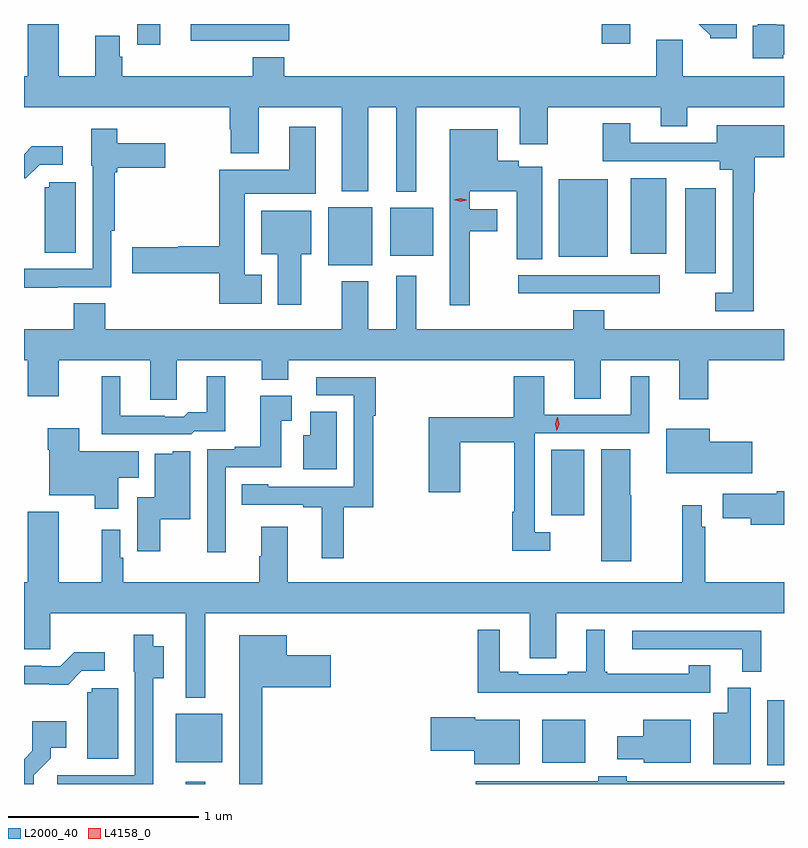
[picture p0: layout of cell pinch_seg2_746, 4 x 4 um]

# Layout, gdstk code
import gdstk
lib = gdstk.Library(unit=1e-6, precision=1e-09)
def R(c, l, rs):  # rectangles x0, y0, x1, y1
    for r in rs: c.add(gdstk.rectangle(r[:2], r[2:], *l))
def P(c, l, *ps):  # polygons
    for p in ps: c.add(gdstk.Polygon(p, *l))
L2000_40 = (2000, 40)
L4158_0 = (4158, 0)

pinch_seg2_746 = lib.new_cell('pinch_seg2_746')
R(pinch_seg2_746, L2000_40, [(645.359,649.402,645.463,649.414), (648.422,649.501,648.509,649.843), (647.237,649.514,647.464,649.741), (645.308,649.517,645.553,649.771), (647.285,650.816,647.458,651.16), (647.109,651.984,647.854,652.08), (647.99,652.089,648.151,652.537), (646.109,652.133,646.342,652.438), (647.324,652.178,647.581,652.585), (646.436,652.181,646.663,652.435), (647.702,652.193,647.89,652.591), (645.104,653.292,645.226,653.402), (647.549,653.298,647.701,653.402), (645.387,653.315,645.905,653.402)])
P(pinch_seg2_746, L2000_40, [(648.259,653.402),(648.06,653.402),(648.12,653.342),(648.12,653.327),(648.259,653.327)],
  [(648.504,653.24),(648.509,653.24),(648.509,653.398),(648.468,653.398),(648.468,653.402),(648.372,653.402),(648.372,653.394),(648.344,653.394),(648.344,653.222),(648.504,653.222)],
  [(646.573,652.964),(647.117,652.964),(647.117,652.77),(647.265,652.77),(647.265,652.964),(647.861,652.964),(647.861,652.865),(648.001,652.865),(648.001,652.964),(648.509,652.964),(648.509,653.128),(647.977,653.128),(647.977,653.318),(647.837,653.318),(647.837,653.128),(645.878,653.128),(645.878,653.227),(645.713,653.227),(645.713,653.128),(645.026,653.128),(645.026,653.229),(645.013,653.229),(645.013,653.34),(644.885,653.34),(644.885,653.128),(644.692,653.128),(644.692,653.402),(644.528,653.402),(644.528,653.128),(644.509,653.128),(644.509,652.964),(645.593,652.964),(645.593,652.848),(645.598,652.848),(645.598,652.721),(645.745,652.721),(645.745,652.964),(646.181,652.964),(646.181,652.523),(646.321,652.523),(646.321,652.964),(646.469,652.964),(646.469,652.52),(646.573,652.52)],
  [(648.349,652.516),(648.356,652.516),(648.356,652.7),(648.509,652.7),(648.509,652.87),(648.155,652.87),(648.155,652.776),(647.701,652.776),(647.701,652.879),(647.554,652.879),(647.554,652.68),(648.17,652.68),(648.17,652.634),(648.24,652.634),(648.24,651.987),(648.147,651.987),(648.147,651.891),(648.349,651.891)],
  [(645.76,652.081),(645.67,652.081),(645.67,652.508),(646.045,652.508),(646.045,652.861),(645.905,652.861),(645.905,652.636),(645.536,652.636),(645.536,652.232),(645.321,652.232),(645.321,652.227),(645.078,652.227),(645.078,652.09),(645.536,652.09),(645.536,651.929),(645.76,651.929)],
  [(644.687,652.017),(644.967,652.017),(644.967,652.315),(644.987,652.315),(644.987,652.622),(645,652.622),(645,652.645),(645.253,652.645),(645.253,652.774),(645,652.774),(645,652.852),(644.864,652.852),(644.864,652.656),(644.871,652.656),(644.871,652.113),(644.509,652.113),(644.509,652.015),(644.687,652.015)],
  [(646.855,652.312),(646.999,652.312),(646.999,652.428),(646.855,652.428),(646.855,652.523),(647.102,652.523),(647.102,652.165),(647.236,652.165),(647.236,652.651),(647.113,652.651),(647.113,652.681),(647.002,652.681),(647.002,652.849),(646.751,652.849),(646.751,651.921),(646.855,651.921)],
  [(644.592,652.662),(644.713,652.662),(644.713,652.759),(644.551,652.759),(644.509,652.717),(644.509,652.589),(644.519,652.589)],
  [(644.782,652.569),(644.643,652.569),(644.643,652.542),(644.618,652.542),(644.618,652.198),(644.782,652.198)],
  [(645.967,652.19),(646.021,652.19),(646.021,652.42),(645.758,652.42),(645.758,652.19),(645.845,652.19),(645.845,651.924),(645.967,651.924)],
  [(645.313,651.632),(645.761,651.632),(645.761,651.53),(645.901,651.53),(645.901,651.632),(647.405,651.632),(647.405,651.43),(647.545,651.43),(647.545,651.632),(647.957,651.632),(647.957,651.426),(648.11,651.426),(648.11,651.632),(648.509,651.632),(648.509,651.796),(647.564,651.796),(647.564,651.895),(647.399,651.895),(647.399,651.796),(646.573,651.796),(646.573,652.078),(646.469,652.078),(646.469,651.796),(646.321,651.796),(646.321,652.048),(646.181,652.048),(646.181,651.796),(644.936,651.796),(644.936,651.932),(644.771,651.932),(644.771,651.796),(644.509,651.796),(644.509,651.632),(644.528,651.632),(644.528,651.444),(644.692,651.444),(644.692,651.632),(645.173,651.632),(645.173,651.424),(645.313,651.424)],
  [(645.405,651.258),(645.569,651.258),(645.569,651.547),(645.47,651.547),(645.47,651.359),(645.374,651.359),(645.351,651.336),(645.251,651.336),(645.251,651.339),(645.016,651.339),(645.016,651.547),(644.919,651.547),(644.919,651.243),(645.39,651.243)],
  [(647.278,650.727),(647.196,650.727),(647.196,651.249),(647.8,651.249),(647.8,651.547),(647.702,651.547),(647.702,651.345),(647.248,651.345),(647.248,651.547),(647.087,651.547),(647.087,651.331),(646.64,651.331),(646.64,650.937),(646.806,650.937),(646.806,651.202),(647.088,651.202),(647.088,650.834),(647.08,650.834),(647.08,650.63),(647.278,650.63)],
  [(646.193,650.859),(646.346,650.859),(646.346,651.34),(646.361,651.34),(646.361,651.543),(646.047,651.543),(646.047,651.447),(646.245,651.447),(646.245,650.967),(645.795,650.967),(645.795,650.98),(645.655,650.98),(645.655,650.871),(645.98,650.871),(645.98,650.859),(646.076,650.859),(646.076,650.589),(646.193,650.589)],
  [(645.57,651.069),(645.862,651.069),(645.862,651.313),(645.919,651.313),(645.919,651.445),(645.752,651.445),(645.752,651.178),(645.617,651.178),(645.617,651.165),(645.474,651.165),(645.474,650.622),(645.57,650.622)],
  [(646.156,651.362),(646.016,651.362),(646.016,651.238),(645.98,651.238),(645.98,651.059),(646.156,651.059)],
  [(645.004,651.014),(645.112,651.014),(645.112,651.154),(644.8,651.154),(644.8,651.274),(644.635,651.274),(644.635,651.161),(644.642,651.161),(644.642,650.921),(644.882,650.921),(644.882,650.85),(645.004,650.85)],
  [(648.343,651.204),(648.118,651.204),(648.118,651.271),(647.888,651.271),(647.888,651.038),(648.343,651.038)],
  [(647.704,650.922),(647.701,650.922),(647.701,651.164),(647.546,651.164),(647.546,650.574),(647.704,650.574)],
  [(645.226,650.795),(645.385,650.795),(645.385,651.154),(645.291,651.154),(645.291,651.139),(645.197,651.139),(645.197,650.911),(645.105,650.911),(645.105,650.628),(645.226,650.628)],
  [(648.509,650.942),(648.47,650.942),(648.47,650.929),(648.186,650.929),(648.186,650.8),(648.335,650.8),(648.335,650.766),(648.509,650.766)],
  [(645.031,650.594),(645.015,650.594),(645.015,650.74),(644.917,650.74),(644.917,650.464),(644.692,650.464),(644.692,650.836),(644.528,650.836),(644.528,650.464),(644.509,650.464),(644.509,650.11),(644.646,650.11),(644.646,650.3),(645.359,650.3),(645.359,649.856),(645.463,649.856),(645.463,650.3),(647.171,650.3),(647.171,650.065),(647.311,650.065),(647.311,650.3),(648.509,650.3),(648.509,650.464),(648.095,650.464),(648.095,650.756),(648.075,650.756),(648.075,650.869),(647.974,650.869),(647.974,650.464),(645.898,650.464),(645.898,650.755),(645.758,650.755),(645.758,650.601),(645.746,650.601),(645.746,650.464),(645.031,650.464)],
  [(647.672,649.883),(648.121,649.883),(648.121,650.027),(648.008,650.027),(648.008,649.981),(647.578,649.981),(647.578,649.993),(647.566,649.993),(647.566,650.215),(647.468,650.215),(647.468,649.993),(647.372,649.993),(647.372,649.98),(647.11,649.98),(647.11,649.993),(647.014,649.993),(647.014,650.215),(646.897,650.215),(646.897,649.883),(647.472,649.883),(647.472,649.882),(647.672,649.882)],
  [(648.388,650.208),(647.709,650.208),(647.709,650.112),(648.29,650.112),(648.29,649.993),(648.388,649.993)],
  [(645.189,649.958),(645.244,649.958),(645.244,650.128),(645.19,650.128),(645.19,650.188),(645.086,650.188),(645.086,649.992),(645.093,649.992),(645.093,649.449),(644.685,649.449),(644.685,649.402),(645.189,649.402)],
  [(645.763,649.91),(646.123,649.91),(646.123,650.08),(645.892,650.08),(645.892,650.185),(645.641,650.185),(645.641,649.402),(645.763,649.402)],
  [(644.814,649.998),(644.935,649.998),(644.935,650.095),(644.773,650.095),(644.7,650.022),(644.6,650.022),(644.6,650.025),(644.509,650.025),(644.509,649.926),(644.642,649.926),(644.642,649.925),(644.741,649.925)],
  [(648.334,649.908),(648.212,649.908),(648.212,649.777),(648.137,649.777),(648.137,649.505),(648.334,649.505)],
  [(645.004,649.905),(644.865,649.905),(644.865,649.884),(644.843,649.884),(644.843,649.536),(645.004,649.536)],
  [(647.119,649.741),(646.884,649.741),(646.884,649.754),(646.65,649.754),(646.65,649.576),(646.88,649.576),(646.88,649.505),(647.119,649.505)],
  [(648.019,649.741),(647.768,649.741),(647.768,649.654),(647.631,649.654),(647.631,649.532),(647.772,649.532),(647.772,649.514),(648.019,649.514)],
  [(644.56,649.447),(644.65,649.537),(644.65,649.592),(644.731,649.592),(644.731,649.732),(644.553,649.732),(644.553,649.577),(644.509,649.533),(644.509,649.402),(644.56,649.402)],
  [(648.509,649.416),(647.682,649.416),(647.682,649.444),(647.532,649.444),(647.532,649.416),(646.887,649.416),(646.887,649.402),(648.509,649.402)])
P(pinch_seg2_746, L4158_0, [(647.313,651.261),(647.305,651.297),(647.316,651.333),(647.316,651.333),(647.317,651.333),(647.325,651.296),(647.314,651.261),(647.314,651.261)],
  [(646.805,652.466),(646.771,652.477),(646.771,652.477),(646.771,652.478),(646.805,652.486),(646.839,652.476),(646.839,652.475),(646.839,652.475)])

lib.write_gds('pinch_seg2_746.gds')
